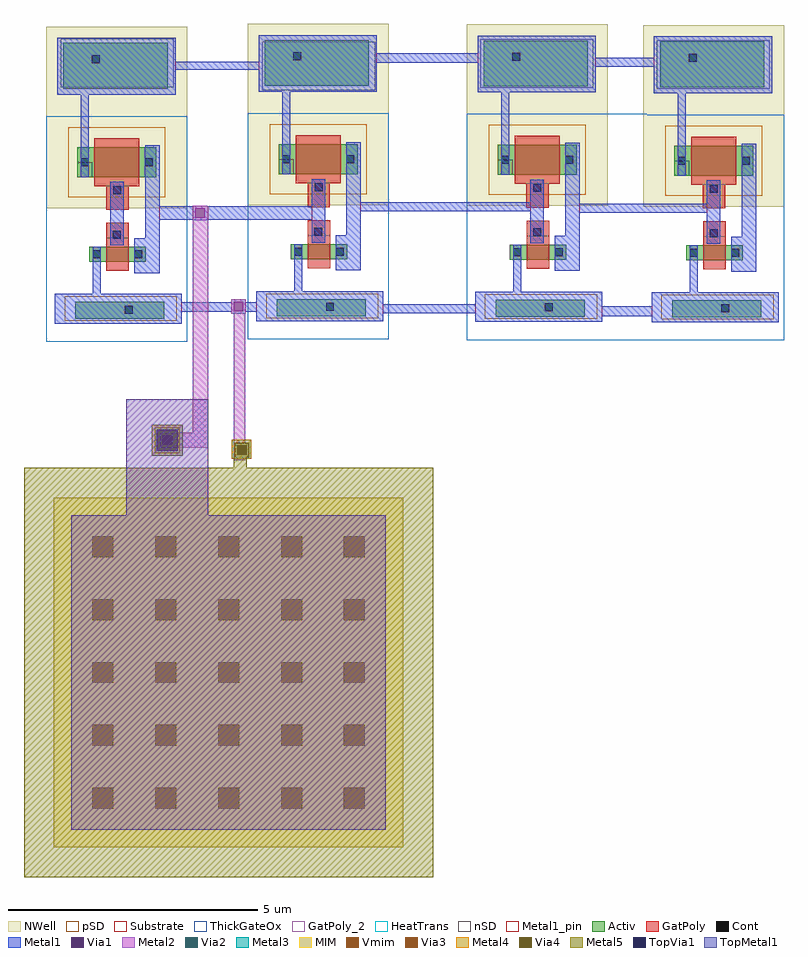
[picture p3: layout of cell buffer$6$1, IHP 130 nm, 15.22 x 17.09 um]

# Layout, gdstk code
from math import pi, radians
import gdstk
lib = gdstk.Library(unit=1e-6, precision=1e-09)
def R(c, l, rs):  # rectangles x0, y0, x1, y1
    for r in rs: c.add(gdstk.rectangle(r[:2], r[2:], *l))
def A(c, l, x, y, w, h, nx, ny, dx, dy):  # array of equal rectangles
    R(c, l, [(x+i*dx, y+j*dy, x+i*dx+w, y+j*dy+h) for i in range(nx) for j in range(ny)])
def P(c, l, *ps):  # polygons
    for p in ps: c.add(gdstk.Polygon(p, *l))
Activ = (1, 0)
GatPoly = (5, 0)
GatPoly_2 = (5, 2)
Cont = (6, 0)
nSD = (7, 0)
Metal1 = (8, 0)
Metal1_pin = (8, 2)
Metal2 = (10, 0)
pSD = (14, 0)
Via1 = (19, 0)
Via2 = (29, 0)
Metal3 = (30, 0)
NWell = (31, 0)
MIM = (36, 0)
Substrate = (40, 0)
ThickGateOx = (44, 0)
Via3 = (49, 0)
Metal4 = (50, 0)
HeatTrans = (51, 0)
Via4 = (66, 0)
Metal5 = (67, 0)
TopVia1 = (125, 0)
TopMetal1 = (126, 0)
Vmim = (129, 0)

pmoshv_13_1 = lib.new_cell('pmosHV$13$1')
R(pmoshv_13_1, Activ, [(-4.055,1.495,-2.475,2.095), (-4.055,1.495,-3.755,1.795), (-2.775,1.495,-2.475,1.795)])
R(pmoshv_13_1, GatPoly, [(-3.715,1.315,-2.815,2.275)])
R(pmoshv_13_1, GatPoly_2, [(-3.715,1.315,-2.815,2.275)])
R(pmoshv_13_1, Cont, [(-3.985,1.715,-3.825,1.875), (-2.705,1.715,-2.545,1.875)])
R(pmoshv_13_1, Metal1, [(-3.985,1.495,-3.825,2.095), (-2.705,1.495,-2.545,2.095)])
R(pmoshv_13_1, Metal1_pin, [(-3.985,1.495,-3.825,2.095), (-2.705,1.495,-2.545,2.095)])
R(pmoshv_13_1, pSD, [(-4.235,1.095,-2.295,2.495)])
R(pmoshv_13_1, NWell, [(-4.675,0.875,-1.855,2.715)])
R(pmoshv_13_1, Substrate, [(-4.055,1.495,-3.755,1.795)])
R(pmoshv_13_1, ThickGateOx, [(-4.675,0.875,-1.855,2.715)])
R(pmoshv_13_1, HeatTrans, [(-3.715,1.315,-2.815,2.275)])
pmoshv_13_1.add(gdstk.Label('pmosHV', (-3.265,1.795), layer=63, texttype=0))
pmoshv_13_1.add(gdstk.Label('pmos', (-3.265,1.795), layer=51, texttype=0))

nmoshv_11_1 = lib.new_cell('nmosHV$11$1')
R(nmoshv_11_1, Activ, [(4.025,1.495,5.155,1.795), (4.025,1.495,4.325,1.795), (4.855,1.495,5.155,1.795)])
R(nmoshv_11_1, GatPoly, [(4.365,1.315,4.815,1.975)])
R(nmoshv_11_1, GatPoly_2, [(4.365,1.315,4.815,1.975)])
R(nmoshv_11_1, Cont, [(4.095,1.565,4.255,1.725), (4.925,1.565,5.085,1.725)])
R(nmoshv_11_1, Metal1, [(4.095,1.495,4.255,1.795), (4.925,1.495,5.085,1.795)])
R(nmoshv_11_1, Metal1_pin, [(4.095,1.495,4.255,1.795), (4.925,1.495,5.085,1.795)])
R(nmoshv_11_1, ThickGateOx, [(3.755,0.975,5.425,2.315)])
R(nmoshv_11_1, HeatTrans, [(4.365,1.315,4.815,1.975)])
nmoshv_11_1.add(gdstk.Label('nmosHV', (4.59,1.645), layer=63, texttype=0))
nmoshv_11_1.add(gdstk.Label('nmosHV', (4.59,1.645), layer=51, texttype=0))

inverter_9_1 = lib.new_cell('inverter$9$1')
R(inverter_9_1, Activ, [(-3.19,0.935,-1.41,1.275), (-3.43,5.545,-1.345,6.465)])
R(inverter_9_1, GatPoly, [(-2.57,2.555,-2.12,2.86), (-2.575,3.12,-2.125,3.65), (-2.525,3.28,-2.165,3.595)])
R(inverter_9_1, Cont, [(-2.205,1.04,-2.045,1.2), (-2.44,2.54,-2.28,2.7), (-2.435,3.435,-2.275,3.595), (-2.86,6.06,-2.7,6.22)])
R(inverter_9_1, nSD, [(0.555,5.515,2.815,6.49)])
R(inverter_9_1, Metal1, [(-2.495,2.405,-2.225,3.68)])
P(inverter_9_1, Metal1, [(-3.08,3.775),(-3.08,5.425),(-3.555,5.425),(-3.555,6.565),(-1.185,6.565),(-1.185,5.425),(-2.92,5.425),(-2.92,3.775)],
  [(-3.6,0.835),(-3.6,1.435),(-2.84,1.435),(-2.84,2.375),(-2.68,2.375),(-2.68,1.435),(-1.06,1.435),(-1.06,0.835)],
  [(-2.01,1.85),(-2.01,2.55),(-1.795,2.55),(-1.795,4.415),(-1.505,4.415),(-1.505,1.85)])
R(inverter_9_1, Metal1_pin, [(-2.495,2.405,-2.225,3.68)])
P(inverter_9_1, Metal1_pin, [(-3.6,0.835),(-3.6,1.435),(-2.84,1.435),(-2.84,2.375),(-2.68,2.375),(-2.68,1.435),(-1.06,1.435),(-1.06,0.835)],
  [(-3.08,3.775),(-3.08,5.425),(-3.555,5.425),(-3.555,6.565),(-1.185,6.565),(-1.185,5.425),(-2.92,5.425),(-2.92,3.775)],
  [(-2.01,1.85),(-2.01,2.55),(-1.795,2.55),(-1.795,4.415),(-1.505,4.415),(-1.505,1.85)])
R(inverter_9_1, pSD, [(-3.405,0.895,-1.155,1.385)])
R(inverter_9_1, NWell, [(-3.77,4.995,-0.95,6.79)])
R(inverter_9_1, ThickGateOx, [(-3.77,0.475,-0.95,3.155)])
inverter_9_1.add(gdstk.Reference(pmoshv_13_1, (0.905,2.28)))
inverter_9_1.add(gdstk.Reference(nmoshv_11_1, (2.245,0.58), rotation=pi, x_reflection=True))

pmoshv_1_10_1 = lib.new_cell('pmosHV$1$10$1')
R(pmoshv_1_10_1, Activ, [(4.015,1.495,5.595,2.095), (4.015,1.495,4.315,1.795), (5.295,1.495,5.595,1.795)])
R(pmoshv_1_10_1, GatPoly, [(4.355,1.315,5.255,2.275)])
R(pmoshv_1_10_1, GatPoly_2, [(4.355,1.315,5.255,2.275)])
R(pmoshv_1_10_1, Cont, [(4.085,1.715,4.245,1.875), (5.365,1.715,5.525,1.875)])
R(pmoshv_1_10_1, Metal1, [(4.085,1.495,4.245,2.095), (5.365,1.495,5.525,2.095)])
R(pmoshv_1_10_1, Metal1_pin, [(4.085,1.495,4.245,2.095), (5.365,1.495,5.525,2.095)])
R(pmoshv_1_10_1, pSD, [(3.835,1.095,5.775,2.495)])
R(pmoshv_1_10_1, NWell, [(3.395,0.875,6.215,2.715)])
R(pmoshv_1_10_1, Substrate, [(4.015,1.495,4.315,1.795)])
R(pmoshv_1_10_1, ThickGateOx, [(3.395,0.875,6.215,2.715)])
R(pmoshv_1_10_1, HeatTrans, [(4.355,1.315,5.255,2.275)])
pmoshv_1_10_1.add(gdstk.Label('pmosHV', (4.805,1.795), layer=63, texttype=0))
pmoshv_1_10_1.add(gdstk.Label('pmos', (4.805,1.795), layer=51, texttype=0))

nmoshv_1_8_1 = lib.new_cell('nmosHV$1$8$1')
R(nmoshv_1_8_1, Activ, [(-4.045,1.495,-2.915,1.795), (-4.045,1.495,-3.745,1.795), (-3.215,1.495,-2.915,1.795)])
R(nmoshv_1_8_1, GatPoly, [(-3.705,1.315,-3.255,1.975)])
R(nmoshv_1_8_1, GatPoly_2, [(-3.705,1.315,-3.255,1.975)])
R(nmoshv_1_8_1, Cont, [(-3.975,1.565,-3.815,1.725), (-3.145,1.565,-2.985,1.725)])
R(nmoshv_1_8_1, Metal1, [(-3.975,1.495,-3.815,1.795), (-3.145,1.495,-2.985,1.795)])
R(nmoshv_1_8_1, Metal1_pin, [(-3.975,1.495,-3.815,1.795), (-3.145,1.495,-2.985,1.795)])
R(nmoshv_1_8_1, ThickGateOx, [(-4.315,0.975,-2.645,2.315)])
R(nmoshv_1_8_1, HeatTrans, [(-3.705,1.315,-3.255,1.975)])
nmoshv_1_8_1.add(gdstk.Label('nmosHV', (-3.48,1.645), layer=63, texttype=0))
nmoshv_1_8_1.add(gdstk.Label('nmosHV', (-3.48,1.645), layer=51, texttype=0))

inverter_1_6_1 = lib.new_cell('inverter$1$6$1')
R(inverter_1_6_1, Activ, [(4.88,0.935,6.66,1.275), (4.64,5.545,6.725,6.465)])
R(inverter_1_6_1, GatPoly, [(5.5,2.555,5.95,2.86), (5.495,3.12,5.945,3.65), (5.545,3.28,5.905,3.595)])
R(inverter_1_6_1, Cont, [(5.865,1.04,6.025,1.2), (5.63,2.54,5.79,2.7), (5.635,3.435,5.795,3.595), (5.21,6.06,5.37,6.22)])
R(inverter_1_6_1, nSD, [(0.555,5.515,2.815,6.49)])
R(inverter_1_6_1, Metal1, [(5.575,2.405,5.845,3.68)])
P(inverter_1_6_1, Metal1, [(4.99,3.775),(4.99,5.425),(4.515,5.425),(4.515,6.565),(6.885,6.565),(6.885,5.425),(5.15,5.425),(5.15,3.775)],
  [(4.47,0.835),(4.47,1.435),(5.23,1.435),(5.23,2.375),(5.39,2.375),(5.39,1.435),(7.01,1.435),(7.01,0.835)],
  [(6.06,1.85),(6.06,2.55),(6.275,2.55),(6.275,4.415),(6.565,4.415),(6.565,1.85)])
R(inverter_1_6_1, Metal1_pin, [(5.575,2.405,5.845,3.68)])
P(inverter_1_6_1, Metal1_pin, [(4.47,0.835),(4.47,1.435),(5.23,1.435),(5.23,2.375),(5.39,2.375),(5.39,1.435),(7.01,1.435),(7.01,0.835)],
  [(4.99,3.775),(4.99,5.425),(4.515,5.425),(4.515,6.565),(6.885,6.565),(6.885,5.425),(5.15,5.425),(5.15,3.775)],
  [(6.06,1.85),(6.06,2.55),(6.275,2.55),(6.275,4.415),(6.565,4.415),(6.565,1.85)])
R(inverter_1_6_1, pSD, [(4.665,0.895,6.915,1.385)])
R(inverter_1_6_1, NWell, [(4.3,4.995,7.12,6.79)])
R(inverter_1_6_1, ThickGateOx, [(4.3,0.475,7.12,3.155)])
inverter_1_6_1.add(gdstk.Reference(pmoshv_1_10_1, (0.905,2.28)))
inverter_1_6_1.add(gdstk.Reference(nmoshv_1_8_1, (2.245,0.58), rotation=pi, x_reflection=True))

pmoshv_3_6_1 = lib.new_cell('pmosHV$3$6$1')
R(pmoshv_3_6_1, Activ, [(-3.585,1.725,-2.005,2.325), (-3.585,1.725,-3.285,2.025), (-2.305,1.725,-2.005,2.025)])
R(pmoshv_3_6_1, GatPoly, [(-3.245,1.545,-2.345,2.505)])
R(pmoshv_3_6_1, GatPoly_2, [(-3.245,1.545,-2.345,2.505)])
R(pmoshv_3_6_1, Cont, [(-3.515,1.945,-3.355,2.105), (-2.235,1.945,-2.075,2.105)])
R(pmoshv_3_6_1, Metal1, [(-3.515,1.725,-3.355,2.325), (-2.235,1.725,-2.075,2.325)])
R(pmoshv_3_6_1, Metal1_pin, [(-3.515,1.725,-3.355,2.325), (-2.235,1.725,-2.075,2.325)])
R(pmoshv_3_6_1, pSD, [(-3.765,1.325,-1.825,2.725)])
R(pmoshv_3_6_1, NWell, [(-4.205,1.105,-1.385,2.945)])
R(pmoshv_3_6_1, Substrate, [(-3.585,1.725,-3.285,2.025)])
R(pmoshv_3_6_1, ThickGateOx, [(-4.205,1.105,-1.385,2.945)])
R(pmoshv_3_6_1, HeatTrans, [(-3.245,1.545,-2.345,2.505)])
pmoshv_3_6_1.add(gdstk.Label('pmosHV', (-2.795,2.025), layer=63, texttype=0))
pmoshv_3_6_1.add(gdstk.Label('pmos', (-2.795,2.025), layer=51, texttype=0))

nmoshv_3_6_1 = lib.new_cell('nmosHV$3$6$1')
R(nmoshv_3_6_1, Activ, [(3.555,1.725,4.685,2.025), (3.555,1.725,3.855,2.025), (4.385,1.725,4.685,2.025)])
R(nmoshv_3_6_1, GatPoly, [(3.895,1.545,4.345,2.205)])
R(nmoshv_3_6_1, GatPoly_2, [(3.895,1.545,4.345,2.205)])
R(nmoshv_3_6_1, Cont, [(3.625,1.795,3.785,1.955), (4.455,1.795,4.615,1.955)])
R(nmoshv_3_6_1, Metal1, [(3.625,1.725,3.785,2.025), (4.455,1.725,4.615,2.025)])
R(nmoshv_3_6_1, Metal1_pin, [(3.625,1.725,3.785,2.025), (4.455,1.725,4.615,2.025)])
R(nmoshv_3_6_1, ThickGateOx, [(3.285,1.205,4.955,2.545)])
R(nmoshv_3_6_1, HeatTrans, [(3.895,1.545,4.345,2.205)])
nmoshv_3_6_1.add(gdstk.Label('nmosHV', (4.12,1.875), layer=63, texttype=0))
nmoshv_3_6_1.add(gdstk.Label('nmosHV', (4.12,1.875), layer=51, texttype=0))

inverter_3_6_1 = lib.new_cell('inverter$3$6$1')
R(inverter_3_6_1, Activ, [(-2.72,1.165,-0.94,1.505), (-2.96,5.775,-0.875,6.695)])
R(inverter_3_6_1, GatPoly, [(-2.1,2.785,-1.65,3.09), (-2.105,3.35,-1.655,3.88), (-2.055,3.51,-1.695,3.825)])
R(inverter_3_6_1, Cont, [(-1.735,1.27,-1.575,1.43), (-1.97,2.77,-1.81,2.93), (-1.965,3.665,-1.805,3.825), (-2.39,6.29,-2.23,6.45)])
R(inverter_3_6_1, nSD, [(-3.03,5.745,-0.77,6.72)])
R(inverter_3_6_1, Metal1, [(-2.025,2.635,-1.755,3.91)])
P(inverter_3_6_1, Metal1, [(-2.61,4.005),(-2.61,5.655),(-3.085,5.655),(-3.085,6.795),(-0.715,6.795),(-0.715,5.655),(-2.45,5.655),(-2.45,4.005)],
  [(-3.13,1.065),(-3.13,1.665),(-2.37,1.665),(-2.37,2.605),(-2.21,2.605),(-2.21,1.665),(-0.59,1.665),(-0.59,1.065)],
  [(-1.54,2.08),(-1.54,2.78),(-1.325,2.78),(-1.325,4.645),(-1.035,4.645),(-1.035,2.08)])
R(inverter_3_6_1, Metal1_pin, [(-2.025,2.635,-1.755,3.91)])
P(inverter_3_6_1, Metal1_pin, [(-3.13,1.065),(-3.13,1.665),(-2.37,1.665),(-2.37,2.605),(-2.21,2.605),(-2.21,1.665),(-0.59,1.665),(-0.59,1.065)],
  [(-2.61,4.005),(-2.61,5.655),(-3.085,5.655),(-3.085,6.795),(-0.715,6.795),(-0.715,5.655),(-2.45,5.655),(-2.45,4.005)],
  [(-1.54,2.08),(-1.54,2.78),(-1.325,2.78),(-1.325,4.645),(-1.035,4.645),(-1.035,2.08)])
R(inverter_3_6_1, pSD, [(-2.935,1.125,-0.685,1.615)])
R(inverter_3_6_1, NWell, [(-3.3,5.225,-0.48,7.02)])
R(inverter_3_6_1, ThickGateOx, [(-3.3,0.705,-0.48,3.385)])
inverter_3_6_1.add(gdstk.Reference(pmoshv_3_6_1, (0.905,2.28)))
inverter_3_6_1.add(gdstk.Reference(nmoshv_3_6_1, (2.245,0.58), rotation=pi, x_reflection=True))
inverter_3_6_1.add(gdstk.Label('OUT', (-1.11,3.195), layer=8, texttype=25))

pmoshv_2_7_1 = lib.new_cell('pmosHV$2$7$1')
R(pmoshv_2_7_1, Activ, [(3.46,1.665,5.04,2.265), (3.46,1.665,3.76,1.965), (4.74,1.665,5.04,1.965)])
R(pmoshv_2_7_1, GatPoly, [(3.8,1.485,4.7,2.445)])
R(pmoshv_2_7_1, GatPoly_2, [(3.8,1.485,4.7,2.445)])
R(pmoshv_2_7_1, Cont, [(3.53,1.885,3.69,2.045), (4.81,1.885,4.97,2.045)])
R(pmoshv_2_7_1, Metal1, [(3.53,1.665,3.69,2.265), (4.81,1.665,4.97,2.265)])
R(pmoshv_2_7_1, Metal1_pin, [(3.53,1.665,3.69,2.265), (4.81,1.665,4.97,2.265)])
R(pmoshv_2_7_1, pSD, [(3.28,1.265,5.22,2.665)])
R(pmoshv_2_7_1, NWell, [(2.84,1.045,5.66,2.885)])
R(pmoshv_2_7_1, Substrate, [(3.46,1.665,3.76,1.965)])
R(pmoshv_2_7_1, ThickGateOx, [(2.84,1.045,5.66,2.885)])
R(pmoshv_2_7_1, HeatTrans, [(3.8,1.485,4.7,2.445)])
pmoshv_2_7_1.add(gdstk.Label('pmosHV', (4.25,1.965), layer=63, texttype=0))
pmoshv_2_7_1.add(gdstk.Label('pmos', (4.25,1.965), layer=51, texttype=0))

nmoshv_2_7_1 = lib.new_cell('nmosHV$2$7$1')
R(nmoshv_2_7_1, Activ, [(-3.49,1.665,-2.36,1.965), (-3.49,1.665,-3.19,1.965), (-2.66,1.665,-2.36,1.965)])
R(nmoshv_2_7_1, GatPoly, [(-3.15,1.485,-2.7,2.145)])
R(nmoshv_2_7_1, GatPoly_2, [(-3.15,1.485,-2.7,2.145)])
R(nmoshv_2_7_1, Cont, [(-3.42,1.735,-3.26,1.895), (-2.59,1.735,-2.43,1.895)])
R(nmoshv_2_7_1, Metal1, [(-3.42,1.665,-3.26,1.965), (-2.59,1.665,-2.43,1.965)])
R(nmoshv_2_7_1, Metal1_pin, [(-3.42,1.665,-3.26,1.965), (-2.59,1.665,-2.43,1.965)])
R(nmoshv_2_7_1, ThickGateOx, [(-3.76,1.145,-2.09,2.485)])
R(nmoshv_2_7_1, HeatTrans, [(-3.15,1.485,-2.7,2.145)])
nmoshv_2_7_1.add(gdstk.Label('nmosHV', (-2.925,1.815), layer=63, texttype=0))
nmoshv_2_7_1.add(gdstk.Label('nmosHV', (-2.925,1.815), layer=51, texttype=0))

inverter_2_7_1 = lib.new_cell('inverter$2$7$1')
R(inverter_2_7_1, Activ, [(4.325,1.105,6.105,1.445), (4.085,5.715,6.17,6.635)])
R(inverter_2_7_1, GatPoly, [(4.945,2.725,5.395,3.03), (4.94,3.29,5.39,3.82), (4.99,3.45,5.35,3.765)])
R(inverter_2_7_1, Cont, [(5.31,1.21,5.47,1.37), (5.075,2.71,5.235,2.87), (5.08,3.605,5.24,3.765), (4.655,6.23,4.815,6.39)])
R(inverter_2_7_1, nSD, [(4.015,5.685,6.275,6.66)])
R(inverter_2_7_1, Metal1, [(5.02,2.575,5.29,3.85)])
P(inverter_2_7_1, Metal1, [(4.435,3.945),(4.435,5.595),(3.96,5.595),(3.96,6.735),(6.33,6.735),(6.33,5.595),(4.595,5.595),(4.595,3.945)],
  [(3.915,1.005),(3.915,1.605),(4.675,1.605),(4.675,2.545),(4.835,2.545),(4.835,1.605),(6.455,1.605),(6.455,1.005)],
  [(5.505,2.02),(5.505,2.72),(5.72,2.72),(5.72,4.585),(6.01,4.585),(6.01,2.02)])
R(inverter_2_7_1, Metal1_pin, [(5.02,2.575,5.29,3.85)])
P(inverter_2_7_1, Metal1_pin, [(3.915,1.005),(3.915,1.605),(4.675,1.605),(4.675,2.545),(4.835,2.545),(4.835,1.605),(6.455,1.605),(6.455,1.005)],
  [(4.435,3.945),(4.435,5.595),(3.96,5.595),(3.96,6.735),(6.33,6.735),(6.33,5.595),(4.595,5.595),(4.595,3.945)],
  [(5.505,2.02),(5.505,2.72),(5.72,2.72),(5.72,4.585),(6.01,4.585),(6.01,2.02)])
R(inverter_2_7_1, pSD, [(4.11,1.065,6.36,1.555)])
R(inverter_2_7_1, NWell, [(3.745,5.165,6.565,6.96)])
R(inverter_2_7_1, ThickGateOx, [(3.745,0.645,6.565,3.325)])
inverter_2_7_1.add(gdstk.Reference(pmoshv_2_7_1, (0.905,2.28)))
inverter_2_7_1.add(gdstk.Reference(nmoshv_2_7_1, (2.245,0.58), rotation=pi, x_reflection=True))
inverter_2_7_1.add(gdstk.Label('PHI2', (-10.975,3.05), layer=8, texttype=25))

cmim_1_6_1 = lib.new_cell('cmim$1$6$1')
R(cmim_1_6_1, MIM, [(0,0,7,7)])
R(cmim_1_6_1, Metal5, [(-0.6,-0.6,7.6,7.6)])
R(cmim_1_6_1, TopMetal1, [(0.35,0.35,6.65,6.65)])
A(cmim_1_6_1, Vmim, 0.77, 0.77, 0.42, 0.42, 5, 5, 1.26, 1.26)

via_stack_2_8_1 = lib.new_cell('via_stack$2$8$1')
R(via_stack_2_8_1, Metal2, [(-0.145,-0.145,0.145,0.145)])
R(via_stack_2_8_1, Via2, [(-0.095,-0.095,0.095,0.095)])
R(via_stack_2_8_1, Metal3, [(-0.145,-0.145,0.145,0.145)])
R(via_stack_2_8_1, Via3, [(-0.095,-0.095,0.095,0.095)])
R(via_stack_2_8_1, Metal4, [(-0.145,-0.145,0.145,0.145)])
R(via_stack_2_8_1, Via4, [(-0.095,-0.095,0.095,0.095)])
R(via_stack_2_8_1, Metal5, [(-0.31,-0.31,0.31,0.31), (-0.145,-0.145,0.145,0.145)])
R(via_stack_2_8_1, TopVia1, [(-0.21,-0.21,0.21,0.21)])
R(via_stack_2_8_1, TopMetal1, [(-0.82,-0.82,0.82,0.82)])

via_stack_15_2 = lib.new_cell('via_stack$15$2')
R(via_stack_15_2, Metal2, [(-0.145,-0.145,0.145,0.145)])
R(via_stack_15_2, Via2, [(-0.095,-0.095,0.095,0.095)])
R(via_stack_15_2, Metal3, [(-0.145,-0.145,0.145,0.145)])
R(via_stack_15_2, Via3, [(-0.095,-0.095,0.095,0.095)])
R(via_stack_15_2, Metal4, [(-0.145,-0.145,0.145,0.145)])
R(via_stack_15_2, Via4, [(-0.095,-0.095,0.095,0.095)])
R(via_stack_15_2, Metal5, [(-0.145,-0.145,0.145,0.145)])

via_stack_4_6_1 = lib.new_cell('via_stack$4$6$1')
R(via_stack_4_6_1, Metal1, [(-0.145,-0.145,0.145,0.145)])
R(via_stack_4_6_1, Metal2, [(-0.145,-0.145,0.145,0.145)])
R(via_stack_4_6_1, Via1, [(-0.095,-0.095,0.095,0.095)])

buffer_6_1 = lib.new_cell('buffer$6$1')
R(buffer_6_1, Metal1, [(5.995,1.08,7.57,1.285), (2.02,1.145,4.055,1.325), (-2.05,1.17,-0.4,1.36), (-2.56,3.015,0.795,3.285), (5.94,3.16,8.685,3.335), (1.52,3.185,5.21,3.365), (-2.21,6.025,-0.29,6.185), (6.24,6.085,7.555,6.26), (1.7,6.16,4.215,6.35)])
R(buffer_6_1, Metal2, [(-0.91,-1.805,-0.685,1.36)])
P(buffer_6_1, Metal2, [(-2.39,-1.555),(-2.39,-1.25),(-1.73,-1.25),(-1.73,3.285),(-1.425,3.285),(-1.425,-1.555)])
R(buffer_6_1, Metal3, [(-0.955,-1.775,-0.565,-1.39), (-2.495,-1.665,-1.99,-1.145)])
P(buffer_6_1, ThickGateOx, [(6.505,0.6),(6.505,0.605),(3.755,0.605),(3.755,0.725),(6.505,0.725),(6.505,5.135),(7.365,5.135),(7.365,0.6)])
R(buffer_6_1, Metal4, [(-0.955,-1.775,-0.565,-1.39), (-2.495,-1.665,-1.99,-1.145)])
P(buffer_6_1, Metal5, [(-0.91,-3.385),(-0.91,-1.74),(-0.845,-1.74),(-0.845,-1.51),(-0.655,-1.51),(-0.655,-3.385)])
P(buffer_6_1, TopMetal1, [(-3.065,-3.7),(-3.065,-2.16),(-2.295,-2.16),(-2.295,-1.4),(-1.99,-1.4),(-1.99,-2.16),(-1.425,-2.16),(-1.425,-3.7)])
buffer_6_1.add(gdstk.Reference(inverter_9_1, (-0.895,0.095)))
buffer_6_1.add(gdstk.Reference(inverter_1_6_1, (-4.93,0.15)))
buffer_6_1.add(gdstk.Reference(inverter_3_6_1, (7.055,-0.09)))
buffer_6_1.add(gdstk.Reference(inverter_2_7_1, (3.545,-0.045)))
buffer_6_1.add(gdstk.Reference(cmim_1_6_1, (2.485,-9.555), rotation=pi/2))
buffer_6_1.add(gdstk.Reference(via_stack_2_8_1, (-2.245,-1.4), rotation=pi/2))
buffer_6_1.add(gdstk.Reference(via_stack_15_2, (-0.75,-1.595), rotation=pi/2))
buffer_6_1.add(gdstk.Reference(via_stack_4_6_1, (-1.585,3.15), rotation=pi/2))
buffer_6_1.add(gdstk.Reference(via_stack_4_6_1, (-0.82,1.275), rotation=pi/2))

lib.write_gds('buffer_6_1.gds')
